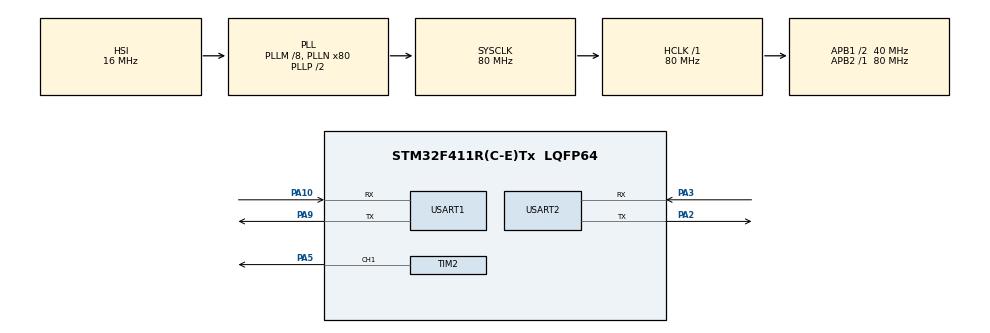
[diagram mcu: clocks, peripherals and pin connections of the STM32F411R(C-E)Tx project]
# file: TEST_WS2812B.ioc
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Dma.Request0=TIM2_CH1
Dma.TIM2_CH1.0.Direction=DMA_MEMORY_TO_PERIPH
Dma.TIM2_CH1.0.FIFOMode=DMA_FIFOMODE_DISABLE
Dma.TIM2_CH1.0.Instance=DMA1_Stream5
Dma.TIM2_CH1.0.MemDataAlignment=DMA_MDATAALIGN_WORD
Dma.TIM2_CH1.0.MemInc=DMA_MINC_ENABLE
Dma.TIM2_CH1.0.Mode=DMA_CIRCULAR
Dma.TIM2_CH1.0.PeriphDataAlignment=DMA_PDATAALIGN_WORD
Dma.TIM2_CH1.0.PeriphInc=DMA_PINC_DISABLE
Dma.TIM2_CH1.0.Priority=DMA_PRIORITY_HIGH
FREERTOS.HEAP_NUMBER=4
FREERTOS.INCLUDE_eTaskGetState=1
FREERTOS.INCLUDE_vTaskCleanUpResources=1
FREERTOS.INCLUDE_vTaskDelayUntil=1
FREERTOS.INCLUDE_xQueueGetMutexHolder=1
FREERTOS.INCLUDE_xTaskResumeFromISR=1
FREERTOS.Tasks01=defaultTask,-2,128,StartDefaultTask,Default,NULL,Dynamic,NULL,NULL;MAIN_TASK,2,128,Main_Task,Default,NULL,Dynamic,NULL,NULL;CircularRing,0,128,CircularRing_Task,Default,NULL,Dynamic,NULL,NULL;HeartBeat,0,128,HeartBeat_Task,Default,NULL,Dynamic,NULL,NULL;AllColors,0,128,AllColors_Task,Default,NULL,Dynamic,NULL,NULL;ColorWheel,0,128,ColorWheel_Task,Default,NULL,Dynamic,NULL,NULL;PatternMove,0,128,PatternMove_Task,Default,NULL,Dynamic,NULL,NULL;FullEmpty,0,128,FullEmpty_Task,Default,NULL,Dynamic,NULL,NULL;AlternateColors,0,128,AlternateColors_Task,Default,NULL,Dynamic,NULL,NULL
FREERTOS.Timers01=UpdateTimer,vTimerUpdateCallback,osTimerPeriodic,Default,1,Dynamic,NULL
FREERTOS.configTOTAL_HEAP_SIZE=7724
FREERTOS.configUSE_COUNTING_SEMAPHORES=1
FREERTOS.configUSE_RECURSIVE_MUTEXES=1
FREERTOS.configUSE_TIMERS=1
FREERTOS.configUSE_TRACE_FACILITY=1
Mcu.Family=STM32F4
Mcu.Name=STM32F411R(C-E)Tx
Mcu.Package=LQFP64
NVIC.DMA1_Stream5_IRQn=true\:5\:0\:true\:false\:true\:true\:false
NVIC.PriorityGroup=NVIC_PRIORITYGROUP_4
PA10.Mode=Asynchronous
PA10.Signal=USART1_RX
PA2.Mode=Asynchronous
PA2.Signal=USART2_TX
PA3.Mode=Asynchronous
PA3.Signal=USART2_RX
PA5.GPIO_PuPd=GPIO_PULLUP
PA5.GPIO_Speed=GPIO_SPEED_FREQ_HIGH
PA5.Signal=S_TIM2_CH1_ETR
PA9.Mode=Asynchronous
PA9.Signal=USART1_TX
ProjectManager.HeapSize=0x200
ProjectManager.StackSize=0x400
ProjectManager.TargetToolchain=MDK-ARM V5
RCC.48MHZClocksFreq_Value=40000000
RCC.AHBFreq_Value=80000000
RCC.APB1CLKDivider=RCC_HCLK_DIV2
RCC.APB1Freq_Value=40000000
RCC.APB1TimFreq_Value=80000000
RCC.APB2Freq_Value=80000000
RCC.APB2TimFreq_Value=80000000
RCC.CortexFreq_Value=80000000
RCC.HCLKFreq_Value=80000000
RCC.HSE_VALUE=25000000
RCC.HSI_VALUE=16000000
RCC.LSE_VALUE=32768
RCC.PLLM=8
RCC.PLLN=80
RCC.SYSCLKFreq_VALUE=80000000
RCC.SYSCLKSource=RCC_SYSCLKSOURCE_PLLCLK
RCC.VCOOutputFreq_Value=160000000
SH.S_TIM2_CH1_ETR.0=TIM2_CH1,PWM Generation1 CH1
TIM2.Channel-PWM\ Generation1\ CH1=TIM_CHANNEL_1
TIM2.Period=20-1
TIM2.Prescaler=1-1
TIM2.Pulse-PWM\ Generation1\ CH1=0
USART1.VirtualMode=VM_ASYNC
USART2.VirtualMode=VM_ASYNC
VP_FREERTOS_VS_ENABLE.Mode=Enabled
board=custom

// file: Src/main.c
/* USER CODE BEGIN Header */
/**
  ******************************************************************************
  * @file           : main.c
  * @brief          : Main program body
  ******************************************************************************
  ** This notice applies to any and all portions of this file
  * that are not between comment pairs USER CODE BEGIN and
  * USER CODE END. Other portions of this file, whether
  * inserted by the user or by software development tools
  * are owned by their respective copyright owners.
  *
  * COPYRIGHT(c) 2019 STMicroelectronics
  *
  * Redistribution and use in source and binary forms, with or without modification,
  * are permitted provided that the following conditions are met:
  *   1. Redistributions of source code must retain the above copyright notice,
  *      this list of conditions and the following disclaimer.
  *   2. Redistributions in binary form must reproduce the above copyright notice,
  *      this list of conditions and the following disclaimer in the documentation
  *      and/or other materials provided with the distribution.
  *   3. Neither the name of STMicroelectronics nor the names of its contributors
  *      may be used to endorse or promote products derived from this software
  *      without specific prior written permission.
  *
  * THIS SOFTWARE IS PROVIDED BY THE COPYRIGHT HOLDERS AND CONTRIBUTORS "AS IS"
  * AND ANY EXPRESS OR IMPLIED WARRANTIES, INCLUDING, BUT NOT LIMITED TO, THE
  * IMPLIED WARRANTIES OF MERCHANTABILITY AND FITNESS FOR A PARTICULAR PURPOSE ARE
  * DISCLAIMED. IN NO EVENT SHALL THE COPYRIGHT HOLDER OR CONTRIBUTORS BE LIABLE
  * FOR ANY DIRECT, INDIRECT, INCIDENTAL, SPECIAL, EXEMPLARY, OR CONSEQUENTIAL
  * DAMAGES (INCLUDING, BUT NOT LIMITED TO, PROCUREMENT OF SUBSTITUTE GOODS OR
  * SERVICES; LOSS OF USE, DATA, OR PROFITS; OR BUSINESS INTERRUPTION) HOWEVER
  * CAUSED AND ON ANY THEORY OF LIABILITY, WHETHER IN CONTRACT, STRICT LIABILITY,
  * OR TORT (INCLUDING NEGLIGENCE OR OTHERWISE) ARISING IN ANY WAY OUT OF THE USE
  * OF THIS SOFTWARE, EVEN IF ADVISED OF THE POSSIBILITY OF SUCH DAMAGE.
  *
  ******************************************************************************
  */
/* USER CODE END Header */

#include "main.h"
#include "cmsis_os.h"
#include "dma.h"
#include "tim.h"
#include "usart.h"
#include "gpio.h"

void SystemClock_Config(void);
void MX_FREERTOS_Init(void);

int main(void)
{

  /* MCU Configuration--------------------------------------------------------*/

  /* Reset of all peripherals, Initializes the Flash interface and the Systick. */
  HAL_Init();

  /* Configure the system clock */
  SystemClock_Config();

  /* Initialize all configured peripherals */
  MX_GPIO_Init();
  MX_DMA_Init();
  MX_USART1_UART_Init();
  MX_USART2_UART_Init();
  MX_TIM2_Init();

  /* Call init function for freertos objects (in freertos.c) */
  MX_FREERTOS_Init();

  /* Start scheduler */
  osKernelStart();

  /* We should never get here as control is now taken by the scheduler */

  /* Infinite loop */
  /* USER CODE BEGIN WHILE */

	/*
  while (1)
  {
	*/

    /* USER CODE END WHILE */

    /* USER CODE BEGIN 3 */

	/*
  }
	*/

  /* USER CODE END 3 */
}

void SystemClock_Config(void)
{
  RCC_OscInitTypeDef RCC_OscInitStruct = {0};
  RCC_ClkInitTypeDef RCC_ClkInitStruct = {0};

  /**Configure the main internal regulator output voltage
  */
  __HAL_RCC_PWR_CLK_ENABLE();
  __HAL_PWR_VOLTAGESCALING_CONFIG(PWR_REGULATOR_VOLTAGE_SCALE1);
  /**Initializes the CPU, AHB and APB busses clocks
  */
  RCC_OscInitStruct.OscillatorType = RCC_OSCILLATORTYPE_HSI;
  RCC_OscInitStruct.HSIState = RCC_HSI_ON;
  RCC_OscInitStruct.HSICalibrationValue = RCC_HSICALIBRATION_DEFAULT;
  RCC_OscInitStruct.PLL.PLLState = RCC_PLL_ON;
  RCC_OscInitStruct.PLL.PLLSource = RCC_PLLSOURCE_HSI;
  RCC_OscInitStruct.PLL.PLLM = 8;
  RCC_OscInitStruct.PLL.PLLN = 80;
  RCC_OscInitStruct.PLL.PLLP = RCC_PLLP_DIV2;
  RCC_OscInitStruct.PLL.PLLQ = 4;
  if (HAL_RCC_OscConfig(&RCC_OscInitStruct) != HAL_OK)
  {
    Error_Handler();
  }
  /**Initializes the CPU, AHB and APB busses clocks
  */
  RCC_ClkInitStruct.ClockType = RCC_CLOCKTYPE_HCLK|RCC_CLOCKTYPE_SYSCLK
                              |RCC_CLOCKTYPE_PCLK1|RCC_CLOCKTYPE_PCLK2;
  RCC_ClkInitStruct.SYSCLKSource = RCC_SYSCLKSOURCE_PLLCLK;
  RCC_ClkInitStruct.AHBCLKDivider = RCC_SYSCLK_DIV1;
  RCC_ClkInitStruct.APB1CLKDivider = RCC_HCLK_DIV2;
  RCC_ClkInitStruct.APB2CLKDivider = RCC_HCLK_DIV1;

  if (HAL_RCC_ClockConfig(&RCC_ClkInitStruct, FLASH_LATENCY_2) != HAL_OK)
  {
    Error_Handler();
  }
}

void Error_Handler(void)
{
}

/************************ (C) COPYRIGHT STMicroelectronics *****END OF FILE****/

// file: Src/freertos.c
/* USER CODE BEGIN Header */
/**
  ******************************************************************************
  * File Name          : freertos.c
  * Description        : Code for freertos applications
  ******************************************************************************
  * This notice applies to any and all portions of this file
  * that are not between comment pairs USER CODE BEGIN and
  * USER CODE END. Other portions of this file, whether
  * inserted by the user or by software development tools
  * are owned by their respective copyright owners.
  *
  * Copyright (c) 2019 STMicroelectronics International N.V.
  * All rights reserved.
  *
  * Redistribution and use in source and binary forms, with or without
  * modification, are permitted, provided that the following conditions are met:
  *
  * 1. Redistribution of source code must retain the above copyright notice,
  *    this list of conditions and the following disclaimer.
  * 2. Redistributions in binary form must reproduce the above copyright notice,
  *    this list of conditions and the following disclaimer in the documentation
  *    and/or other materials provided with the distribution.
  * 3. Neither the name of STMicroelectronics nor the names of other
  *    contributors to this software may be used to endorse or promote products
  *    derived from this software without specific written permission.
  * 4. This software, including modifications and/or derivative works of this
  *    software, must execute solely and exclusively on microcontroller or
  *    microprocessor devices manufactured by or for STMicroelectronics.
  * 5. Redistribution and use of this software other than as permitted under
  *    this license is void and will automatically terminate your rights under
  *    this license.
  *
  * THIS SOFTWARE IS PROVIDED BY STMICROELECTRONICS AND CONTRIBUTORS "AS IS"
  * AND ANY EXPRESS, IMPLIED OR STATUTORY WARRANTIES, INCLUDING, BUT NOT
  * LIMITED TO, THE IMPLIED WARRANTIES OF MERCHANTABILITY, FITNESS FOR A
  * PARTICULAR PURPOSE AND NON-INFRINGEMENT OF THIRD PARTY INTELLECTUAL PROPERTY
  * RIGHTS ARE DISCLAIMED TO THE FULLEST EXTENT PERMITTED BY LAW. IN NO EVENT
  * SHALL STMICROELECTRONICS OR CONTRIBUTORS BE LIABLE FOR ANY DIRECT, INDIRECT,
  * INCIDENTAL, SPECIAL, EXEMPLARY, OR CONSEQUENTIAL DAMAGES (INCLUDING, BUT NOT
  * LIMITED TO, PROCUREMENT OF SUBSTITUTE GOODS OR SERVICES; LOSS OF USE, DATA,
  * OR PROFITS; OR BUSINESS INTERRUPTION) HOWEVER CAUSED AND ON ANY THEORY OF
  * LIABILITY, WHETHER IN CONTRACT, STRICT LIABILITY, OR TORT (INCLUDING
  * NEGLIGENCE OR OTHERWISE) ARISING IN ANY WAY OUT OF THE USE OF THIS SOFTWARE,
  * EVEN IF ADVISED OF THE POSSIBILITY OF SUCH DAMAGE.
  *
  ******************************************************************************
  */
/* USER CODE END Header */

#include "FreeRTOS.h"
#include "task.h"
#include "main.h"
#include "cmsis_os.h"

/* USER CODE BEGIN PD */
#define UPDATE_INTERVAL 	15 //refresh rate: 1/0.015ms = 66Hz
#define TASK_INTERVAL			10000
/* USER CODE END PD */

osThreadId defaultTaskHandle;
osThreadId MAIN_TASKHandle;
osThreadId CircularRingHandle;
osThreadId HeartBeatHandle;
osThreadId AllColorsHandle;
osThreadId ColorWheelHandle;
osThreadId PatternMoveHandle;
osThreadId FullEmptyHandle;
osThreadId AlternateColorsHandle;
osTimerId UpdateTimerHandle;

void StartDefaultTask(void const * argument);
void Main_Task(void const * argument);
void CircularRing_Task(void const * argument);
void HeartBeat_Task(void const * argument);
void AllColors_Task(void const * argument);
void ColorWheel_Task(void const * argument);
void PatternMove_Task(void const * argument);
void FullEmpty_Task(void const * argument);
void AlternateColors_Task(void const * argument);
void vTimerUpdateCallback(void const * argument);

void MX_FREERTOS_Init(void); /* (MISRA C 2004 rule 8.1) */

void MX_FREERTOS_Init(void) {
  /* USER CODE BEGIN Init */
	/* Create task */
  /* USER CODE END Init */

  /* Create the timer(s) */
  /* definition and creation of UpdateTimer */
  osTimerDef(UpdateTimer, vTimerUpdateCallback);
  UpdateTimerHandle = osTimerCreate(osTimer(UpdateTimer), osTimerPeriodic, (void*) 1);

  /* USER CODE BEGIN RTOS_TIMERS */
  /* start timers, add new ones, ... */
	osTimerStart(UpdateTimerHandle, UPDATE_INTERVAL);

  /* USER CODE END RTOS_TIMERS */

  /* Create the thread(s) */
  /* definition and creation of defaultTask */
  osThreadDef(defaultTask, StartDefaultTask, osPriorityLow, 0, 128);
  defaultTaskHandle = osThreadCreate(osThread(defaultTask), NULL);

  /* definition and creation of MAIN_TASK */
  osThreadDef(MAIN_TASK, Main_Task, osPriorityHigh, 0, 128);
  MAIN_TASKHandle = osThreadCreate(osThread(MAIN_TASK), NULL);

  /* definition and creation of CircularRing */
  osThreadDef(CircularRing, CircularRing_Task, osPriorityNormal, 0, 128);
  CircularRingHandle = osThreadCreate(osThread(CircularRing), NULL);

  /* definition and creation of HeartBeat */
  osThreadDef(HeartBeat, HeartBeat_Task, osPriorityNormal, 0, 128);
  HeartBeatHandle = osThreadCreate(osThread(HeartBeat), NULL);

  /* definition and creation of AllColors */
  osThreadDef(AllColors, AllColors_Task, osPriorityNormal, 0, 128);
  AllColorsHandle = osThreadCreate(osThread(AllColors), NULL);

  /* definition and creation of ColorWheel */
  osThreadDef(ColorWheel, ColorWheel_Task, osPriorityNormal, 0, 128);
  ColorWheelHandle = osThreadCreate(osThread(ColorWheel), NULL);

  /* definition and creation of PatternMove */
  osThreadDef(PatternMove, PatternMove_Task, osPriorityNormal, 0, 128);
  PatternMoveHandle = osThreadCreate(osThread(PatternMove), NULL);

  /* definition and creation of FullEmpty */
  osThreadDef(FullEmpty, FullEmpty_Task, osPriorityNormal, 0, 128);
  FullEmptyHandle = osThreadCreate(osThread(FullEmpty), NULL);

  /* definition and creation of AlternateColors */
  osThreadDef(AlternateColors, AlternateColors_Task, osPriorityNormal, 0, 128);
  AlternateColorsHandle = osThreadCreate(osThread(AlternateColors), NULL);

}

void StartDefaultTask(void const * argument)
{

  for(;;)
  {
    osDelay(1);
  }
}

void Main_Task(void const * argument)
{
  /* USER CODE BEGIN Main_Task */
	osThreadSuspend(CircularRingHandle);
	osThreadSuspend(HeartBeatHandle);
	osThreadSuspend(AllColorsHandle);
	osThreadSuspend(ColorWheelHandle);
	osThreadSuspend(PatternMoveHandle);
	osThreadSuspend(FullEmptyHandle);
	osThreadSuspend(AlternateColorsHandle);

	while (1) {
		osThreadResume(CircularRingHandle);
		osDelay(TASK_INTERVAL);
		osThreadSuspend(CircularRingHandle);

		osThreadResume(HeartBeatHandle);
		osDelay(TASK_INTERVAL);
		osThreadSuspend(HeartBeatHandle);

		osThreadResume(AllColorsHandle);
		osDelay(TASK_INTERVAL);
		osThreadSuspend(AllColorsHandle);

		osThreadResume(ColorWheelHandle);
		osDelay(TASK_INTERVAL);
		osThreadSuspend(ColorWheelHandle);

		osThreadResume(PatternMoveHandle);
		osDelay(TASK_INTERVAL);
		osThreadSuspend(PatternMoveHandle);

		osThreadResume(FullEmptyHandle);
		osDelay(TASK_INTERVAL);
		osThreadSuspend(FullEmptyHandle);

		osThreadResume(AlternateColorsHandle);
		osDelay(TASK_INTERVAL);
		osThreadSuspend(AlternateColorsHandle);

	}
  /* USER CODE END Main_Task */
}

void CircularRing_Task(void const * argument)
{
  /* USER CODE BEGIN CircularRing_Task */
	stripEffect_CircularRing(50, 0, 0, 20);
  /* USER CODE END CircularRing_Task */
}

void HeartBeat_Task(void const * argument)
{
  /* USER CODE BEGIN HeartBeat_Task */
	stripEffect_HeartBeat(700, 64, 0, 16);
  /* USER CODE END HeartBeat_Task */
}

void AllColors_Task(void const * argument)
{
  /* USER CODE BEGIN AllColors_Task */
	stripEffect_AllColors(10);
  /* USER CODE END AllColors_Task */
}

void ColorWheel_Task(void const * argument)
{
  /* USER CODE BEGIN ColorWheel_Task */
	stripEffect_ColorWheel(50);
  /* USER CODE END ColorWheel_Task */
}

void PatternMove_Task(void const * argument)
{
  /* USER CODE BEGIN PatternMove_Task */
	stripEffect_PatternMove(50, 2, 10, 10, 10);
  /* USER CODE END PatternMove_Task */
}

void FullEmpty_Task(void const * argument)
{
  /* USER CODE BEGIN FullEmpty_Task */
  stripEffect_FullEmpty(50, 20, 20, 20);
  /* USER CODE END FullEmpty_Task */
}

void AlternateColors_Task(void const * argument)
{
  /* USER CODE BEGIN AlternateColors_Task */
  stripEffect_AlternateColors(1000, 10, 50, 0, 0, 0, 0, 50);
  /* USER CODE END AlternateColors_Task */
}

/* vTimerUpdateCallback function */
void vTimerUpdateCallback(void const * argument)
{
  /* USER CODE BEGIN vTimerUpdateCallback */
  ws2812_update();
  /* USER CODE END vTimerUpdateCallback */
}

/************************ (C) COPYRIGHT STMicroelectronics *****END OF FILE****/
